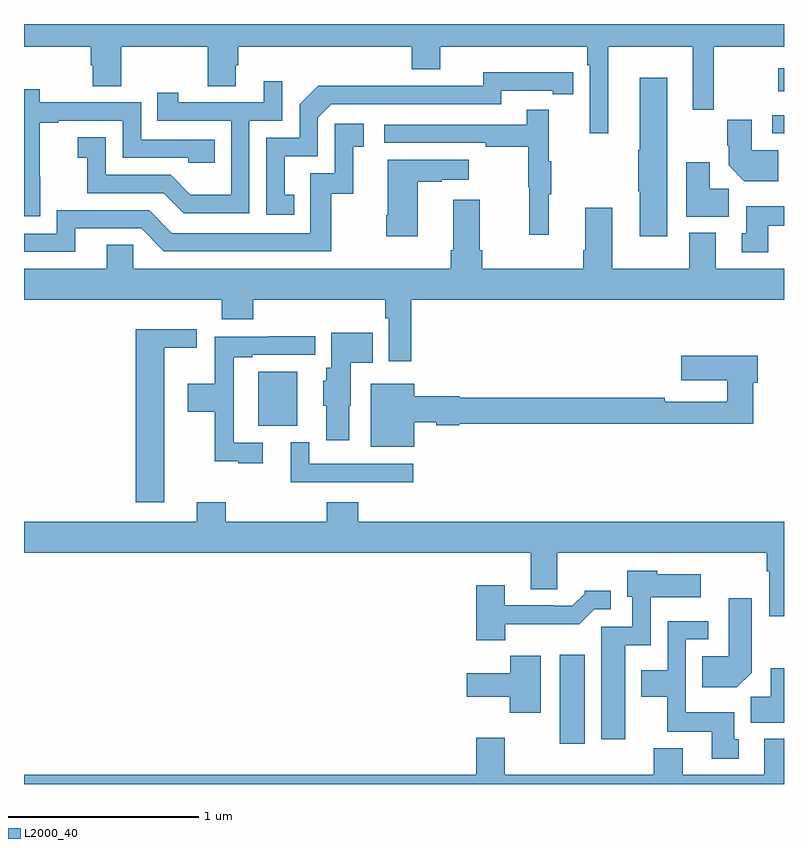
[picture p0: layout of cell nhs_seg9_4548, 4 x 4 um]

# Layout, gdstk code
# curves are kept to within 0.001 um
import gdstk
lib = gdstk.Library(unit=1e-6, precision=1e-09)
def R(c, l, rs):  # rectangles x0, y0, x1, y1
    for r in rs: c.add(gdstk.rectangle(r[:2], r[2:], *l))
def P(c, l, *ps):  # polygons
    for p in ps: c.add(gdstk.Polygon(p, *l))
L2000_40 = (2000, 40)

nhs_seg9_4548 = lib.new_cell('nhs_seg9_4548')
R(nhs_seg9_4548, L2000_40, [(373.82,1232.712,373.951,1233.181), (372.233,1234.385,372.439,1234.669), (374.937,1235.925,375,1236.021), (374.97,1236.146,375,1236.268)])
P(nhs_seg9_4548, L2000_40, [(374.074,1236.38),(374.519,1236.38),(374.519,1236.048),(374.629,1236.048),(374.629,1236.38),(375,1236.38),(375,1236.5),(371,1236.5),(371,1236.38),(371.351,1236.38),(371.351,1236.282),(371.363,1236.282),(371.363,1236.172),(371.511,1236.172),(371.511,1236.38),(371.968,1236.38),(371.968,1236.172),(372.115,1236.172),(372.115,1236.282),(372.128,1236.282),(372.128,1236.38),(373.04,1236.38),(373.04,1236.263),(373.192,1236.263),(373.192,1236.38),(373.964,1236.38),(373.964,1236.284),(373.977,1236.284),(373.977,1235.925),(374.074,1235.925)],
  [(372.422,1235.601),(372.373,1235.601),(372.373,1235.805),(372.546,1235.805),(372.546,1236.006),(372.618,1236.078),(373.512,1236.078),(373.512,1236.15),(373.784,1236.15),(373.784,1236.13),(373.892,1236.13),(373.892,1236.246),(373.416,1236.247),(373.416,1236.174),(372.956,1236.174),(372.956,1236.176),(372.548,1236.176),(372.45,1236.078),(372.45,1235.901),(372.276,1235.901),(372.276,1235.496),(372.422,1235.496)],
  [(374.386,1236.217),(374.24,1236.217),(374.24,1235.837),(374.233,1235.837),(374.233,1235.62),(374.24,1235.62),(374.24,1235.382),(374.386,1235.382)],
  [(372.186,1235.991),(372.36,1235.991),(372.36,1236.199),(372.263,1236.199),(372.263,1236.087),(371.812,1236.087),(371.812,1236.139),(371.701,1236.139),(371.701,1235.991),(372.09,1235.991),(372.09,1235.602),(371.876,1235.602),(371.772,1235.706),(371.43,1235.706),(371.43,1235.905),(371.283,1235.905),(371.283,1235.795),(371.332,1235.795),(371.332,1235.61),(371.735,1235.61),(371.84,1235.505),(372.186,1235.505)],
  [(371.085,1235.695),(371.084,1235.695),(371.084,1235.979),(371.179,1235.979),(371.179,1235.991),(371.52,1235.991),(371.52,1235.796),(371.865,1235.796),(371.865,1235.769),(372.005,1235.769),(372.005,1235.892),(371.616,1235.892),(371.616,1236.087),(371.082,1236.087),(371.082,1236.156),(371,1236.156),(371,1235.489),(371.085,1235.489)],
  [(373.763,1235.603),(373.774,1235.603),(373.774,1235.777),(373.763,1235.777),(373.763,1236.049),(373.645,1236.049),(373.645,1235.97),(372.897,1235.97),(372.897,1235.874),(373.429,1235.874),(373.429,1235.854),(373.653,1235.854),(373.653,1235.64),(373.66,1235.64),(373.66,1235.391),(373.763,1235.391)],
  [(374.969,1235.836),(374.83,1235.836),(374.83,1235.995),(374.701,1235.995),(374.701,1235.86),(374.708,1235.86),(374.708,1235.756),(374.792,1235.672),(374.969,1235.672)],
  [(371.269,1235.424),(371.616,1235.424),(371.736,1235.304),(372.616,1235.304),(372.616,1235.607),(372.734,1235.607),(372.734,1235.853),(372.787,1235.853),(372.787,1235.974),(372.636,1235.974),(372.636,1235.715),(372.507,1235.715),(372.507,1235.4),(371.778,1235.4),(371.658,1235.52),(371.172,1235.52),(371.172,1235.397),(371,1235.397),(371,1235.301),(371.269,1235.301)],
  [(373.072,1235.671),(373.199,1235.671),(373.199,1235.681),(373.342,1235.681),(373.342,1235.785),(372.914,1235.785),(372.914,1235.494),(372.907,1235.494),(372.907,1235.382),(373.072,1235.382)],
  [(374.71,1235.633),(374.608,1235.633),(374.608,1235.773),(374.486,1235.773),(374.486,1235.486),(374.71,1235.486)],
  [(372.041,1234.946),(372.206,1234.946),(372.206,1235.048),(372.901,1235.048),(372.901,1234.952),(372.921,1234.952),(372.921,1234.725),(373.037,1234.725),(373.037,1235.048),(375,1235.048),(375,1235.212),(374.641,1235.212),(374.641,1235.401),(374.501,1235.401),(374.501,1235.212),(374.095,1235.212),(374.095,1235.533),(373.955,1235.533),(373.955,1235.308),(373.943,1235.308),(373.943,1235.212),(373.412,1235.212),(373.412,1235.308),(373.399,1235.308),(373.399,1235.575),(373.259,1235.575),(373.259,1235.308),(373.247,1235.308),(373.247,1235.212),(371.574,1235.212),(371.574,1235.339),(371.435,1235.339),(371.435,1235.212),(371,1235.212),(371,1235.048),(372.041,1235.048)],
  [(374.917,1235.438),(375,1235.438),(375,1235.542),(374.801,1235.542),(374.801,1235.4),(374.777,1235.4),(374.777,1235.298),(374.917,1235.298)],
  [(371.737,1234.796),(371.908,1234.796),(371.908,1234.894),(371.588,1234.894),(371.588,1233.984),(371.737,1233.984)],
  [(372.712,1234.491),(372.721,1234.491),(372.721,1234.718),(372.836,1234.718),(372.836,1234.876),(372.617,1234.876),(372.617,1234.692),(372.59,1234.692),(372.59,1234.623),(372.575,1234.623),(372.575,1234.491),(372.59,1234.491),(372.59,1234.308),(372.712,1234.308)],
  [(372.256,1234.296),(372.105,1234.296),(372.105,1234.746),(372.202,1234.746),(372.202,1234.758),(372.532,1234.758),(372.532,1234.856),(372.289,1234.856),(372.289,1234.854),(372.004,1234.854),(372.004,1234.606),(371.862,1234.606),(371.862,1234.459),(372.004,1234.459),(372.004,1234.199),(372.128,1234.199),(372.128,1234.188),(372.256,1234.188)],
  [(373.054,1234.403),(373.17,1234.403),(373.17,1234.388),(373.29,1234.388),(373.29,1234.396),(374.837,1234.396),(374.837,1234.613),(374.861,1234.613),(374.861,1234.755),(374.46,1234.755),(374.46,1234.625),(374.701,1234.625),(374.701,1234.512),(374.372,1234.512),(374.372,1234.532),(373.29,1234.532),(373.29,1234.54),(373.054,1234.54),(373.054,1234.606),(372.824,1234.606),(372.824,1234.274),(373.054,1234.274)],
  [(373.048,1234.185),(372.501,1234.185),(372.501,1234.3),(372.404,1234.3),(372.404,1234.089),(373.048,1234.089)],
  [(375,1233.88),(372.758,1233.88),(372.758,1233.982),(372.593,1233.982),(372.593,1233.88),(372.062,1233.88),(372.062,1233.982),(371.909,1233.982),(371.909,1233.88),(371,1233.88),(371,1233.716),(373.667,1233.716),(373.667,1233.526),(373.807,1233.526),(373.807,1233.716),(374.91,1233.716),(374.91,1233.62),(374.922,1233.62),(374.922,1233.384),(375,1233.384)],
  [(374.164,1233.23),(374.298,1233.23),(374.298,1233.482),(374.563,1233.482),(374.563,1233.604),(374.334,1233.604),(374.334,1233.622),(374.174,1233.622),(374.174,1233.486),(374.202,1233.486),(374.202,1233.327),(374.039,1233.327),(374.039,1232.736),(374.164,1232.736)],
  [(373.534,1233.342),(373.923,1233.342),(374.001,1233.42),(374.089,1233.42),(374.089,1233.517),(373.95,1233.517),(373.95,1233.502),(373.886,1233.438),(373.787,1233.438),(373.787,1233.441),(373.531,1233.441),(373.531,1233.547),(373.379,1233.547),(373.379,1233.257),(373.534,1233.257)],
  [(374.83,1233.086),(374.83,1233.478),(374.708,1233.478),(374.708,1233.172),(374.569,1233.172),(374.569,1233.008),(374.752,1233.008)],
  [(374.761,1232.736),(374.737,1232.736),(374.737,1232.878),(374.484,1232.878),(374.484,1233.261),(374.602,1233.261),(374.602,1233.357),(374.388,1233.357),(374.388,1233.1),(374.249,1233.1),(374.249,1232.96),(374.386,1232.96),(374.386,1232.774),(374.621,1232.774),(374.621,1232.634),(374.761,1232.634)],
  [(373.72,1233.175),(373.558,1233.175),(373.558,1233.082),(373.329,1233.082),(373.329,1232.96),(373.556,1232.96),(373.556,1232.874),(373.72,1232.874)],
  [(375,1233.109),(374.93,1233.109),(374.93,1232.96),(374.825,1232.96),(374.825,1232.822),(375,1232.822)],
  [(375,1232.737),(374.897,1232.737),(374.897,1232.548),(374.467,1232.548),(374.467,1232.689),(374.315,1232.689),(374.315,1232.548),(373.531,1232.548),(373.531,1232.743),(373.379,1232.743),(373.379,1232.548),(371,1232.548),(371,1232.5),(375,1232.5)])

lib.write_gds('nhs_seg9_4548.gds')
